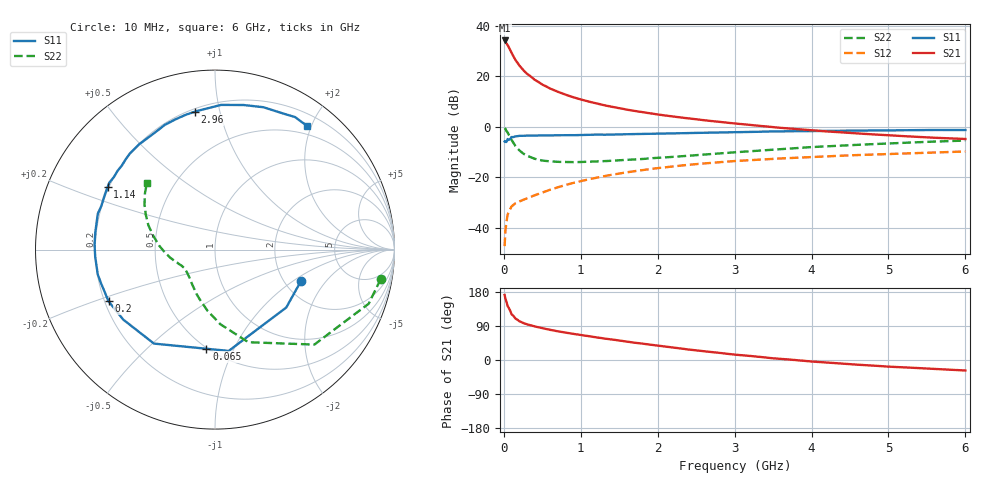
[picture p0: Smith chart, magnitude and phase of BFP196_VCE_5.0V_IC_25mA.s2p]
! Infineon Technologies  Discrete & RF Semiconductors
! BFP196
! VCE = 5.0 V,  IC =  25mA
! Common Emitter S-Parameters:  Jan 2016
# GHz  S  MA  R  50
!  f  S11  S21  S12  S22
! GHz  MAG  ANG  MAG  ANG  MAG  ANG  MAG  ANG
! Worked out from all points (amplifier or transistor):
!   210 points, 10 MHz to 6 GHz, reference 50 ohm
!   highest |S21| = 34.2 dB at 10 MHz (marker M1)
!   |S21| within 3 dB of that: start of sweep to 68.41 MHz
!   unconditionally stable (mu >= 1): 626.6 MHz to 3.481 GHz; 3.54 GHz to 3.968 GHz
!   at 185 MHz: K = 0.52, MSG = 27.4 dB, |S12| = -29.9 dB
!   at 1.52 GHz: K = 1.10, MAG = 10.9 dB, |S12| = -18.4 dB
!   at 6 GHz: K = 0.97, MSG = 2.5 dB, |S12| = -9.8 dB
!   S11 on the Smith chart (normalised r, x): 10 MHz: 2.44, -1.16; 65 MHz: 0.49, -0.79; 200 MHz: 0.22, -0.22; 1.14 GHz: 0.19, +0.26; 2.96 GHz: 0.22, +0.84; 6 GHz: 0.37, +1.94
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0.01  0.5097 -20.3  51.08 171.6  0.0043 85.4  0.938 -10.1
0.02  0.5116 -39.1  48.8 162.4  0.0085 77.5  0.9077 -19.4
0.05  0.5696 -82.3  41.24 142.0  0.0183 59.4  0.7659 -43.7
0.065  0.5544 -95.0  37.07 137.2  0.0206 54.7  0.6873 -49.8
0.1  0.6244 -123.0  28.81 121.0  0.0263 47.1  0.5485 -70.2
0.15  0.6431 -142.7  21.04 109.6  0.0303 42.8  0.4163 -86.0
0.2  0.6593 -154.1  16.45 102.5  0.0328 42.8  0.3425 -97.1
0.26  0.6619 -163.4  12.87 96.9  0.036 43.8  0.2889 -107.3
0.3  0.6677 -168.0  11.22 93.9  0.0382 45.6  0.267 -112.8
0.4  0.6687 -176.7  8.532 88.5  0.0438 48.4  0.2316 -123.3
0.5  0.6717 177.5  6.839 83.9  0.0495 50.5  0.2136 -130.8
0.6  0.6738 171.7  5.72 79.6  0.0562 52.9  0.2055 -136.4
0.7  0.6772 166.9  4.926 75.7  0.0629 54.1  0.2013 -140.7
1.02  0.6848 154.2  3.396 65.3  0.0848 54.9  0.2002 -149.6
1.14  0.6921 149.9  3.049 61.7  0.0933 54.5  0.2035 -152.1
1.6  0.7073 134.8  2.173 48.5  0.1246 51.2  0.2209 -160.1
2.02  0.725 122.4  1.728 37.4  0.1523 46.4  0.2422 -166.9
2.96  0.7762 98.4  1.177 15.2  0.2065 34.5  0.3078 176.7
3.1  0.7823 95.5  1.121 12.5  0.213 32.6  0.3185 174.2
4.1  0.8234 77.3  0.826 -5.3  0.2547 20.7  0.4018 158.6
5.1  0.8479 63.4  0.663 -18.4  0.2918 9.8  0.4726 146.1
6  0.859 53.3  0.571 -27.7  0.3227 -0.3  0.5317 135.4
